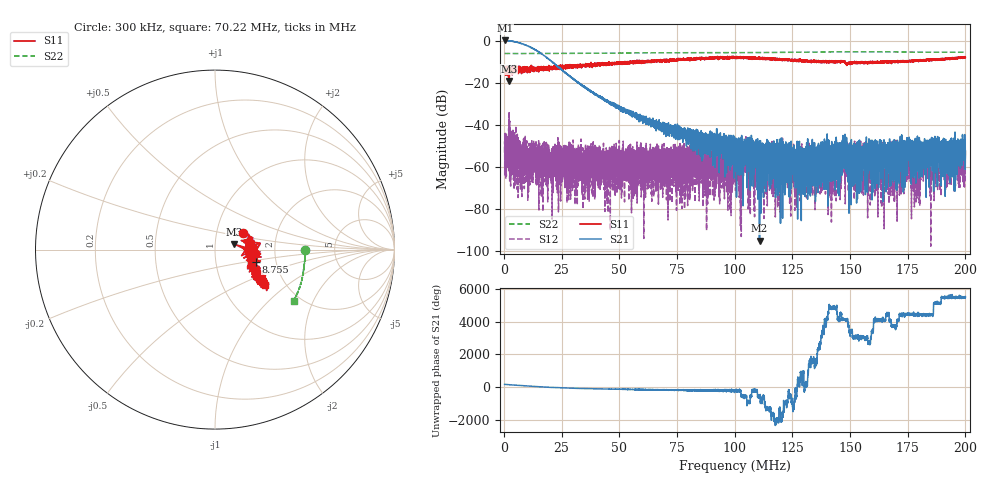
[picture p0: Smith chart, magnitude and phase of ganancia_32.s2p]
# Hz S DB R 50
! CMT, M5065, 19127446, 24.2.4/2
! Date: 11/8/2024 6:39:52 PM
! Data: Format (Calibration Info)
! Freq	S11:dB/Ang(F2)	S21:dB/Ang(F2)	S12:dB/Ang(F2)	S22:dB/Ang(F2)
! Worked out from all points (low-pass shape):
!   9000 points, 300 kHz to 200 MHz, reference 50 ohm
!   highest |S21| = 0.24 dB at 322.2 kHz (marker M1); lowest = -95.1 dB at 110.8 MHz (marker M2)
!   |S21| within 3 dB of the highest: start of sweep to 11.12 MHz
!   lowest |S11| = -19.0 dB at 2.075 MHz (marker M3), VSWR 1.25, Z = 61.9 + j3.82 ohm
!   |S11| at or under -10 dB: start of sweep to 45.39 MHz; 45.51 MHz to 49.03 MHz (3.525 MHz wide, 7.46 % of centre); 147.9 MHz to 150.2 MHz (2.268 MHz wide, 1.52 % of centre)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
!   |S22| runs from -6.0 to -5.2 dB; largest |S21 - S12| = 1
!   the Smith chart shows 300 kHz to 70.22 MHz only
!   S11 on the Smith chart (normalised r, x): 300 kHz: 1.35, +0.25; 8.755 MHz: 1.58, -0.22; 70.22 MHz: 1.61, -0.77
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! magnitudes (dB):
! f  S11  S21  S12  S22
! 300 kHz  -14.8  0.2  -53.3  -6.0
! 322.2 kHz  -14.1  0.2  -47.8  -6.0
! 2.075 MHz  -19.0  0.1  -43.7  -6.0
! 8.755 MHz  -12.4  -1.7  -51.5  -6.0
! 33.59 MHz  -11.2  -21.0  -59.3  -5.9
! 66.87 MHz  -9.1  -38.2  -71.1  -5.7
! 70.22 MHz  -8.8  -41.2  -62.0  -5.6
! 71.96 MHz  -9.2  -43.8  -65.4  -5.6
! 100.2 MHz  -7.6  -49.9  -58.4  -5.6
! 110.8 MHz  -7.8  -95.1  -50.0  -5.5
! 119 MHz  -8.4  -57.9  -56.6  -5.4
! 121.7 MHz  -8.9  -54.4  -54.6  -5.4
! 126.8 MHz  -9.0  -56.7  -58.7  -5.4
! 133.4 MHz  -9.6  -56.7  -54.7  -5.3
! 141.8 MHz  -10.0  -60.9  -52.2  -5.2
! 145.6 MHz  -10.3  -67.2  -59.7  -5.2
! 147.5 MHz  -9.5  -50.7  -51.1  -5.2
! 149.8 MHz  -10.7  -56.6  -61.5  -5.2
! 166.7 MHz  -10.4  -51.9  -55.0  -5.2
! 175.4 MHz  -9.7  -50.0  -56.6  -5.3
! 188.6 MHz  -8.9  -51.3  -55.4  -5.3
! 200 MHz  -7.9  -52.3  -51.4  -5.4
